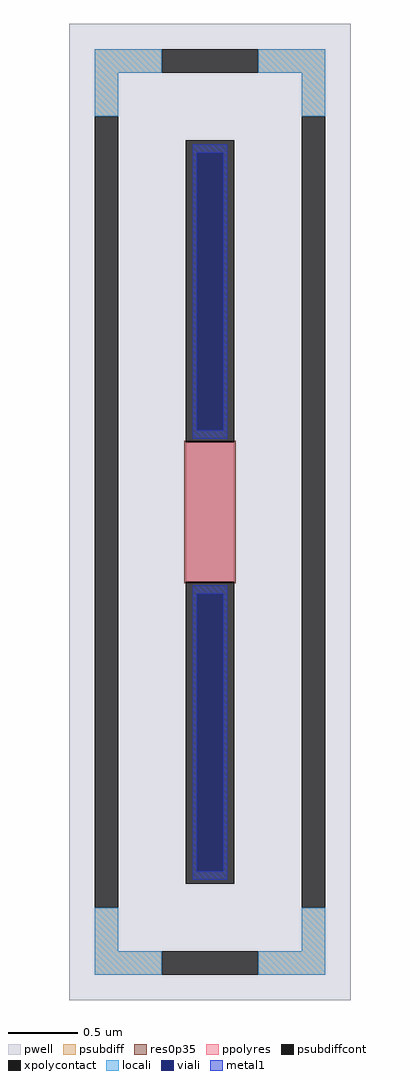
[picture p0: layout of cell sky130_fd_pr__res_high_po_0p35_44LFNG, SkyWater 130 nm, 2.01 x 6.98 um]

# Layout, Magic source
magic
tech sky130B
magscale 1 2
<< pwell >>
rect -201 -698 201 698
<< psubdiff >>
rect -165 628 -69 662
rect 69 628 165 662
rect -165 566 -131 628
rect 131 566 165 628
rect -165 -628 -131 -566
rect 131 -628 165 -566
rect -165 -662 -69 -628
rect 69 -662 165 -628
<< psubdiffcont >>
rect -69 628 69 662
rect -165 -566 -131 566
rect 131 -566 165 566
rect -69 -662 69 -628
<< xpolycontact >>
rect -35 100 35 532
rect -35 -532 35 -100
<< ppolyres >>
rect -35 -100 35 100
<< locali >>
rect -165 628 -69 662
rect 69 628 165 662
rect -165 566 -131 628
rect 131 566 165 628
rect -165 -628 -131 -566
rect 131 -628 165 -566
rect -165 -662 -69 -628
rect 69 -662 165 -628
<< viali >>
rect -19 117 19 514
rect -19 -514 19 -117
<< metal1 >>
rect -25 514 25 526
rect -25 117 -19 514
rect 19 117 25 514
rect -25 105 25 117
rect -25 -117 25 -105
rect -25 -514 -19 -117
rect 19 -514 25 -117
rect -25 -526 25 -514
<< res0p35 >>
rect -37 -102 37 102
<< properties >>
string FIXED_BBOX -148 -645 148 645
string gencell sky130_fd_pr__res_high_po_0p35
string library sky130
string parameters w 0.350 l 1 m 1 nx 1 wmin 0.350 lmin 0.50 rho 319.8 val 2.026k dummy 0 dw 0.0 term 194.82 sterm 0.0 caplen 0 guard 1 glc 1 grc 1 gtc 1 gbc 1 compatible {sky130_fd_pr__res_high_po_0p35  sky130_fd_pr__res_high_po_0p69 sky130_fd_pr__res_high_po_1p41  sky130_fd_pr__res_high_po_2p85 sky130_fd_pr__res_high_po_5p73} full_metal 1 wmax 0.350 vias 1 n_guard 0 hv_guard 0 viagb 0 viagt 0 viagl 0 viagr 0
<< end >>
